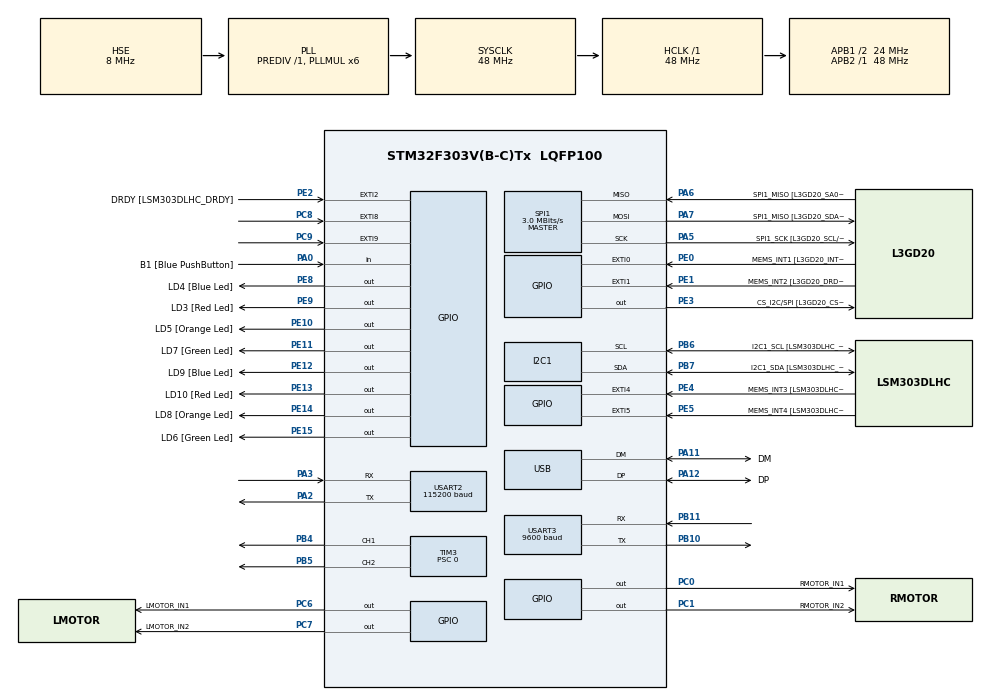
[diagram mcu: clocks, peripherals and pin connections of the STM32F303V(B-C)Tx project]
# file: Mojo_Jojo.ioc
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I2C1.Timing=0x00201D2B
I2C1.Timing-I2C=0x2000090E
Mcu.Family=STM32F3
Mcu.Name=STM32F303V(B-C)Tx
Mcu.Package=LQFP100
NVIC.EXTI9_5_IRQn=true\:0\:0\:false\:false\:true\:true\:true\:true
NVIC.PriorityGroup=NVIC_PRIORITYGROUP_4
NVIC.TIM2_IRQn=true\:0\:0\:false\:false\:true\:true\:true\:true
NVIC.TIM4_IRQn=true\:1\:0\:true\:false\:true\:true\:true\:true
NVIC.USART3_IRQn=true\:0\:0\:false\:false\:true\:true\:true\:true
PA0.GPIO_Label=B1 [Blue PushButton]
PA0.Signal=GPIO_Input
PA11.GPIO_Label=DM
PA11.Mode=Device
PA11.Signal=USB_DM
PA12.GPIO_Label=DP
PA12.Mode=Device
PA12.Signal=USB_DP
PA13.GPIO_Label=SWDIO
PA13.Mode=Serial_Wire
PA13.Signal=SYS_JTMS-SWDIO
PA14.GPIO_Label=SWCLK
PA14.Mode=Serial_Wire
PA14.Signal=SYS_JTCK-SWCLK
PA2.Mode=Asynchronous
PA2.Signal=USART2_TX
PA3.Mode=Asynchronous
PA3.Signal=USART2_RX
PA5.GPIO_Label=SPI1_SCK [L3GD20_SCL/SPC]
PA5.Mode=Full_Duplex_Master
PA5.Signal=SPI1_SCK
PA6.GPIO_Label=SPI1_MISO [L3GD20_SA0/SDO]
PA6.Mode=Full_Duplex_Master
PA6.Signal=SPI1_MISO
PA7.GPIO_Label=SPI1_MISO [L3GD20_SDA/SDI/SDO]
PA7.Mode=Full_Duplex_Master
PA7.Signal=SPI1_MOSI
PB10.Mode=Asynchronous
PB10.Signal=USART3_TX
PB11.Mode=Asynchronous
PB11.Signal=USART3_RX
PB3.GPIO_Label=SWO
PB3.Signal=SYS_JTDO-TRACESWO
PB4.Signal=S_TIM3_CH1
PB5.Signal=S_TIM3_CH2
PB6.GPIO_Label=I2C1_SCL [LSM303DLHC_SCL]
PB6.GPIO_Pu=GPIO_PULLUP
PB6.Mode=I2C
PB6.Signal=I2C1_SCL
PB7.GPIO_Label=I2C1_SDA [LSM303DLHC_SDA]
PB7.GPIO_Pu=GPIO_PULLUP
PB7.Mode=I2C
PB7.Signal=I2C1_SDA
PC0.GPIO_Label=RMOTOR_IN1
PC0.Signal=GPIO_Output
PC1.GPIO_Label=RMOTOR_IN2
PC1.Signal=GPIO_Output
PC14-OSC32_IN.GPIO_Label=OSC32_IN
PC14-OSC32_IN.Signal=RCC_OSC32_IN
PC15-OSC32_OUT.GPIO_Label=OSC32_OUT
PC15-OSC32_OUT.Signal=RCC_OSC32_OUT
PC6.GPIO_Label=LMOTOR_IN1
PC6.Signal=GPIO_Output
PC7.GPIO_Label=LMOTOR_IN2
PC7.Signal=GPIO_Output
PC8.Signal=GPXTI8
PC9.Signal=GPXTI9
PE0.GPIO_Label=MEMS_INT1 [L3GD20_INT1]
PE0.GPIO_ModeDefaultEXTI=GPIO_MODE_EVT_RISING
PE0.Signal=GPXTI0
PE1.GPIO_Label=MEMS_INT2 [L3GD20_DRDY/INT2]
PE1.GPIO_ModeDefaultEXTI=GPIO_MODE_EVT_RISING
PE1.Signal=GPXTI1
PE10.GPIO_Label=LD5 [Orange Led]
PE10.Signal=GPIO_Output
PE11.GPIO_Label=LD7 [Green Led]
PE11.Signal=GPIO_Output
PE12.GPIO_Label=LD9 [Blue Led]
PE12.Signal=GPIO_Output
PE13.GPIO_Label=LD10 [Red Led]
PE13.Signal=GPIO_Output
PE14.GPIO_Label=LD8 [Orange Led]
PE14.Signal=GPIO_Output
PE15.GPIO_Label=LD6 [Green Led]
PE15.Signal=GPIO_Output
PE2.GPIO_Label=DRDY [LSM303DLHC_DRDY]
PE2.GPIO_ModeDefaultEXTI=GPIO_MODE_EVT_RISING
PE2.Signal=GPXTI2
PE3.GPIO_Label=CS_I2C/SPI [L3GD20_CS_I2C/SPI]
PE3.Signal=GPIO_Output
PE4.GPIO_Label=MEMS_INT3 [LSM303DLHC_INT1]
PE4.GPIO_ModeDefaultEXTI=GPIO_MODE_EVT_RISING
PE4.Signal=GPXTI4
PE5.GPIO_Label=MEMS_INT4 [LSM303DLHC_INT2]
PE5.GPIO_ModeDefaultEXTI=GPIO_MODE_EVT_RISING
PE5.Signal=GPXTI5
PE8.GPIO_Label=LD4 [Blue Led]
PE8.Signal=GPIO_Output
PE9.GPIO_Label=LD3 [Red Led]
PE9.Signal=GPIO_Output
PF0-OSC_IN.GPIO_Label=OSC_IN
PF0-OSC_IN.Mode=HSE-External-Clock-Source
PF0-OSC_IN.Signal=RCC_OSC_IN
PF1-OSC_OUT.GPIO_Label=OSC_OUT
PF1-OSC_OUT.Signal=RCC_OSC_OUT
ProjectManager.HeapSize=0x200
ProjectManager.StackSize=0x400
ProjectManager.TargetToolchain=CMake
RCC.AHBFreq_Value=48000000
RCC.APB1CLKDivider=RCC_HCLK_DIV2
RCC.APB1Freq_Value=24000000
RCC.APB1TimFreq_Value=48000000
RCC.APB2Freq_Value=48000000
RCC.APB2TimFreq_Value=48000000
RCC.CortexFreq_Value=48000000
RCC.HCLKFreq_Value=48000000
RCC.HSE_VALUE=8000000
RCC.HSI_VALUE=8000000
RCC.LSE_VALUE=32768
RCC.PLLMUL=RCC_PLL_MUL6
RCC.SYSCLKFreq_VALUE=48000000
RCC.SYSCLKSourceVirtual=RCC_SYSCLKSOURCE_PLLCLK
RCC.USBFreq_Value=48000000
SH.S_TIM3_CH1.0=TIM3_CH1,PWM Generation1 CH1
SH.S_TIM3_CH2.0=TIM3_CH2,PWM Generation2 CH2
SPI1.BaudRatePrescaler=SPI_BAUDRATEPRESCALER_16
SPI1.BaudRatePrescaler-Full_Duplex_Master=SPI_BAUDRATEPRESCALER_2
SPI1.CLKPhase=SPI_PHASE_2EDGE
SPI1.CLKPolarity=SPI_POLARITY_HIGH
SPI1.CalculateBaudRate=3.0 MBits/s
SPI1.CalculateBaudRate-Full_Duplex_Master=24.0 MBits/s
SPI1.DataSize=SPI_DATASIZE_8BIT
SPI1.Direction=SPI_DIRECTION_2LINES
SPI1.Mode=SPI_MODE_MASTER
SPI1.Mode-Full_Duplex_Master=SPI_MODE_MASTER
SPI1.VirtualType=VM_MASTER
TIM2.Period=0xFFFFFFFF
TIM2.Prescaler=47
TIM3.Channel-PWM\ Generation1\ CH1=TIM_CHANNEL_1
TIM3.Channel-PWM\ Generation2\ CH2=TIM_CHANNEL_2
TIM3.Period=4799
TIM3.Prescaler=0
TIM4.Period=9999
TIM4.Prescaler=47
USART2.BaudRate=115200
USART2.VirtualMode-Asynchronous=VM_ASYNC
USART3.BaudRate=9600
USART3.VirtualMode-Asynchronous=VM_ASYNC
VP_TIM2_VS_ClockSourceINT.Mode=Internal
VP_TIM3_VS_ClockSourceINT.Mode=Internal
VP_TIM4_VS_ClockSourceINT.Mode=Internal
board=STM32F3DISCOVERY

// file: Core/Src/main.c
/* USER CODE BEGIN Header */
/**
  ******************************************************************************
  * @file           : main.c
  * @brief          : Main program body
  ******************************************************************************
  * @attention
  *
  * Copyright (c) 2026 STMicroelectronics.
  * All rights reserved.
  *
  * This software is licensed under terms that can be found in the LICENSE file
  * in the root directory of this software component.
  * If no LICENSE file comes with this software, it is provided AS-IS.
  *
  ******************************************************************************
  */
/* USER CODE END Header */
#include "main.h"

/* USER CODE BEGIN Includes */
#include "angle.h"
#include "encoder.h"
#include "imu.h"
#include "motor.h"
#include "pid.h"

#include <math.h>
#include <stdio.h>
#include <string.h>

/* USER CODE END Includes */

/* USER CODE BEGIN PD */
#define FALL_ANGLE_DEG 40.0f

/* USER CODE END PD */

I2C_HandleTypeDef hi2c1;

SPI_HandleTypeDef hspi1;

TIM_HandleTypeDef htim2;
TIM_HandleTypeDef htim3;
TIM_HandleTypeDef htim4;

UART_HandleTypeDef huart2;
UART_HandleTypeDef huart3;

PCD_HandleTypeDef hpcd_USB_FS;

/* USER CODE BEGIN PV */
pid_t balance_pid;    /* Position (angle) PID */
pid_t speed_pid;      /* Speed (RPM) PID */
volatile uint8_t g_fallen = 0;
volatile uint8_t g_fall_event = 0;

/* USER CODE END PV */

void SystemClock_Config(void);
static void MX_GPIO_Init(void);
static void MX_I2C1_Init(void);
static void MX_SPI1_Init(void);
static void MX_TIM2_Init(void);
static void MX_TIM3_Init(void);
static void MX_TIM4_Init(void);
static void MX_USART2_UART_Init(void);
static void MX_USART3_UART_Init(void);
static void MX_USB_PCD_Init(void);

/* USER CODE BEGIN 0 */
#define RAD_TO_DEG 57.2957795f

extern void encoder_exti_handler(uint16_t GPIO_Pin);

static void uart2_print(const char *msg)
{
  HAL_UART_Transmit(&huart2, (uint8_t *)msg, (uint16_t)strlen(msg), HAL_MAX_DELAY);
}

/* USER CODE END 0 */

int main(void)
{

  /* MCU Configuration--------------------------------------------------------*/

  /* Reset of all peripherals, Initializes the Flash interface and the Systick. */
  HAL_Init();

  /* Configure the system clock */
  SystemClock_Config();

  /* Initialize all configured peripherals */
  MX_GPIO_Init();
  MX_I2C1_Init();
  MX_SPI1_Init();
  MX_TIM2_Init();
  MX_TIM3_Init();
  MX_TIM4_Init();
  MX_USART2_UART_Init();
  MX_USART3_UART_Init();
  MX_USB_PCD_Init();
  /* USER CODE BEGIN 2 */
  char line[128];

  (void)snprintf(line, sizeof(line), "\r\nPhase 6: Position PID\r\n");
  uart2_print(line);

  imu_init(&hi2c1, &hspi1);
  imu_calibrate(200);
  angle_init();
  g_fallen = 0;
  g_fall_event = 0;

  encoder_init(&htim2);
  motor_init(&htim3);

  /* Position PID: angle -> target RPM (cascaded mode) */
  pid_init(&balance_pid, 65.0f, 6.5f, 0.65f, 0.0f, -300.0f, 300.0f);

  /* Speed PID: target RPM -> PWM command (conservative Kp) */
  pid_init(&speed_pid,1.0f, 0.0f, 0.0f, 0.0f, -999.0f, 999.0f);
  HAL_TIM_Base_Start_IT(&htim4);

  uart2_print("UART: angle,target_rpm,actual_rpm,pwm_cmd @10Hz\r\n");

  /* USER CODE END 2 */

  /* Infinite loop */
  while (1)
  {

    /* USER CODE BEGIN 3 */
    if (g_fall_event) {
      g_fall_event = 0;
      uart2_print("FALL DETECTED: |angle| > 45 deg, motors stopped\r\n");
    }

    if (display_flag) {
      float rpm_l;
      float rpm_r;
      int len;

      display_flag = 0;
      rpm_l = encoder_get_rpm_left();
      rpm_r = encoder_get_rpm_right();

      len = snprintf(line,
                     sizeof(line),
                     "%.2f,%.1f,%.1f,%.1f\r\n",
                     imu.angle,
                     balance_pid.output,
                     (rpm_l + rpm_r) / 2.0f,
                     speed_pid.output);
      HAL_UART_Transmit(&huart2, (uint8_t *)line, (uint16_t)len, HAL_MAX_DELAY);
    }
  }
  /* USER CODE END 3 */
}

void SystemClock_Config(void)
{
  RCC_OscInitTypeDef RCC_OscInitStruct = {0};
  RCC_ClkInitTypeDef RCC_ClkInitStruct = {0};
  RCC_PeriphCLKInitTypeDef PeriphClkInit = {0};

  /** Initializes the RCC Oscillators according to the specified parameters
  * in the RCC_OscInitTypeDef structure.
  */
  RCC_OscInitStruct.OscillatorType = RCC_OSCILLATORTYPE_HSI|RCC_OSCILLATORTYPE_HSE;
  RCC_OscInitStruct.HSEState = RCC_HSE_BYPASS;
  RCC_OscInitStruct.HSEPredivValue = RCC_HSE_PREDIV_DIV1;
  RCC_OscInitStruct.HSIState = RCC_HSI_ON;
  RCC_OscInitStruct.HSICalibrationValue = RCC_HSICALIBRATION_DEFAULT;
  RCC_OscInitStruct.PLL.PLLState = RCC_PLL_ON;
  RCC_OscInitStruct.PLL.PLLSource = RCC_PLLSOURCE_HSE;
  RCC_OscInitStruct.PLL.PLLMUL = RCC_PLL_MUL6;
  if (HAL_RCC_OscConfig(&RCC_OscInitStruct) != HAL_OK)
  {
    Error_Handler();
  }

  /** Initializes the CPU, AHB and APB buses clocks
  */
  RCC_ClkInitStruct.ClockType = RCC_CLOCKTYPE_HCLK|RCC_CLOCKTYPE_SYSCLK
                              |RCC_CLOCKTYPE_PCLK1|RCC_CLOCKTYPE_PCLK2;
  RCC_ClkInitStruct.SYSCLKSource = RCC_SYSCLKSOURCE_PLLCLK;
  RCC_ClkInitStruct.AHBCLKDivider = RCC_SYSCLK_DIV1;
  RCC_ClkInitStruct.APB1CLKDivider = RCC_HCLK_DIV2;
  RCC_ClkInitStruct.APB2CLKDivider = RCC_HCLK_DIV1;

  if (HAL_RCC_ClockConfig(&RCC_ClkInitStruct, FLASH_LATENCY_1) != HAL_OK)
  {
    Error_Handler();
  }
  PeriphClkInit.PeriphClockSelection = RCC_PERIPHCLK_USB|RCC_PERIPHCLK_USART2
                              |RCC_PERIPHCLK_USART3|RCC_PERIPHCLK_I2C1;
  PeriphClkInit.Usart2ClockSelection = RCC_USART2CLKSOURCE_PCLK1;
  PeriphClkInit.Usart3ClockSelection = RCC_USART3CLKSOURCE_PCLK1;
  PeriphClkInit.I2c1ClockSelection = RCC_I2C1CLKSOURCE_HSI;
  PeriphClkInit.USBClockSelection = RCC_USBCLKSOURCE_PLL;
  if (HAL_RCCEx_PeriphCLKConfig(&PeriphClkInit) != HAL_OK)
  {
    Error_Handler();
  }
}

static void MX_I2C1_Init(void)
{

  hi2c1.Instance = I2C1;
  hi2c1.Init.Timing = 0x00201D2B;
  hi2c1.Init.OwnAddress1 = 0;
  hi2c1.Init.AddressingMode = I2C_ADDRESSINGMODE_7BIT;
  hi2c1.Init.DualAddressMode = I2C_DUALADDRESS_DISABLE;
  hi2c1.Init.OwnAddress2 = 0;
  hi2c1.Init.OwnAddress2Masks = I2C_OA2_NOMASK;
  hi2c1.Init.GeneralCallMode = I2C_GENERALCALL_DISABLE;
  hi2c1.Init.NoStretchMode = I2C_NOSTRETCH_DISABLE;
  if (HAL_I2C_Init(&hi2c1) != HAL_OK)
  {
    Error_Handler();
  }

  /** Configure Analogue filter
  */
  if (HAL_I2CEx_ConfigAnalogFilter(&hi2c1, I2C_ANALOGFILTER_ENABLE) != HAL_OK)
  {
    Error_Handler();
  }

  /** Configure Digital filter
  */
  if (HAL_I2CEx_ConfigDigitalFilter(&hi2c1, 0) != HAL_OK)
  {
    Error_Handler();
  }

}

static void MX_SPI1_Init(void)
{

  /* SPI1 parameter configuration*/
  hspi1.Instance = SPI1;
  hspi1.Init.Mode = SPI_MODE_MASTER;
  hspi1.Init.Direction = SPI_DIRECTION_2LINES;
  hspi1.Init.DataSize = SPI_DATASIZE_8BIT;
  hspi1.Init.CLKPolarity = SPI_POLARITY_HIGH;
  hspi1.Init.CLKPhase = SPI_PHASE_2EDGE;
  hspi1.Init.NSS = SPI_NSS_SOFT;
  hspi1.Init.BaudRatePrescaler = SPI_BAUDRATEPRESCALER_16;
  hspi1.Init.FirstBit = SPI_FIRSTBIT_MSB;
  hspi1.Init.TIMode = SPI_TIMODE_DISABLE;
  hspi1.Init.CRCCalculation = SPI_CRCCALCULATION_DISABLE;
  hspi1.Init.CRCPolynomial = 7;
  hspi1.Init.CRCLength = SPI_CRC_LENGTH_DATASIZE;
  hspi1.Init.NSSPMode = SPI_NSS_PULSE_DISABLE;
  if (HAL_SPI_Init(&hspi1) != HAL_OK)
  {
    Error_Handler();
  }

}

static void MX_TIM2_Init(void)
{

  TIM_ClockConfigTypeDef sClockSourceConfig = {0};
  TIM_MasterConfigTypeDef sMasterConfig = {0};

  htim2.Instance = TIM2;
  htim2.Init.Prescaler = 47;
  htim2.Init.CounterMode = TIM_COUNTERMODE_UP;
  htim2.Init.Period = 0xFFFFFFFF;
  htim2.Init.ClockDivision = TIM_CLOCKDIVISION_DIV1;
  htim2.Init.AutoReloadPreload = TIM_AUTORELOAD_PRELOAD_DISABLE;
  if (HAL_TIM_Base_Init(&htim2) != HAL_OK)
  {
    Error_Handler();
  }
  sClockSourceConfig.ClockSource = TIM_CLOCKSOURCE_INTERNAL;
  if (HAL_TIM_ConfigClockSource(&htim2, &sClockSourceConfig) != HAL_OK)
  {
    Error_Handler();
  }
  sMasterConfig.MasterOutputTrigger = TIM_TRGO_RESET;
  sMasterConfig.MasterSlaveMode = TIM_MASTERSLAVEMODE_DISABLE;
  if (HAL_TIMEx_MasterConfigSynchronization(&htim2, &sMasterConfig) != HAL_OK)
  {
    Error_Handler();
  }

}

static void MX_TIM3_Init(void)
{

  TIM_ClockConfigTypeDef sClockSourceConfig = {0};
  TIM_MasterConfigTypeDef sMasterConfig = {0};
  TIM_OC_InitTypeDef sConfigOC = {0};

  htim3.Instance = TIM3;
  htim3.Init.Prescaler = 47;
  htim3.Init.CounterMode = TIM_COUNTERMODE_UP;
  htim3.Init.Period = 999;
  htim3.Init.ClockDivision = TIM_CLOCKDIVISION_DIV1;
  htim3.Init.AutoReloadPreload = TIM_AUTORELOAD_PRELOAD_DISABLE;
  if (HAL_TIM_Base_Init(&htim3) != HAL_OK)
  {
    Error_Handler();
  }
  sClockSourceConfig.ClockSource = TIM_CLOCKSOURCE_INTERNAL;
  if (HAL_TIM_ConfigClockSource(&htim3, &sClockSourceConfig) != HAL_OK)
  {
    Error_Handler();
  }
  if (HAL_TIM_PWM_Init(&htim3) != HAL_OK)
  {
    Error_Handler();
  }
  sMasterConfig.MasterOutputTrigger = TIM_TRGO_RESET;
  sMasterConfig.MasterSlaveMode = TIM_MASTERSLAVEMODE_DISABLE;
  if (HAL_TIMEx_MasterConfigSynchronization(&htim3, &sMasterConfig) != HAL_OK)
  {
    Error_Handler();
  }
  sConfigOC.OCMode = TIM_OCMODE_PWM1;
  sConfigOC.Pulse = 0;
  sConfigOC.OCPolarity = TIM_OCPOLARITY_HIGH;
  sConfigOC.OCFastMode = TIM_OCFAST_DISABLE;
  if (HAL_TIM_PWM_ConfigChannel(&htim3, &sConfigOC, TIM_CHANNEL_1) != HAL_OK)
  {
    Error_Handler();
  }
  if (HAL_TIM_PWM_ConfigChannel(&htim3, &sConfigOC, TIM_CHANNEL_2) != HAL_OK)
  {
    Error_Handler();
  }
  HAL_TIM_MspPostInit(&htim3);

}

static void MX_TIM4_Init(void)
{

  TIM_ClockConfigTypeDef sClockSourceConfig = {0};
  TIM_MasterConfigTypeDef sMasterConfig = {0};

  htim4.Instance = TIM4;
  htim4.Init.Prescaler = 47;
  htim4.Init.CounterMode = TIM_COUNTERMODE_UP;
  htim4.Init.Period = 9999;
  htim4.Init.ClockDivision = TIM_CLOCKDIVISION_DIV1;
  htim4.Init.AutoReloadPreload = TIM_AUTORELOAD_PRELOAD_DISABLE;
  if (HAL_TIM_Base_Init(&htim4) != HAL_OK)
  {
    Error_Handler();
  }
  sClockSourceConfig.ClockSource = TIM_CLOCKSOURCE_INTERNAL;
  if (HAL_TIM_ConfigClockSource(&htim4, &sClockSourceConfig) != HAL_OK)
  {
    Error_Handler();
  }
  sMasterConfig.MasterOutputTrigger = TIM_TRGO_RESET;
  sMasterConfig.MasterSlaveMode = TIM_MASTERSLAVEMODE_DISABLE;
  if (HAL_TIMEx_MasterConfigSynchronization(&htim4, &sMasterConfig) != HAL_OK)
  {
    Error_Handler();
  }

}

static void MX_USART2_UART_Init(void)
{

  huart2.Instance = USART2;
  huart2.Init.BaudRate = 115200;
  huart2.Init.WordLength = UART_WORDLENGTH_8B;
  huart2.Init.StopBits = UART_STOPBITS_1;
  huart2.Init.Parity = UART_PARITY_NONE;
  huart2.Init.Mode = UART_MODE_TX_RX;
  huart2.Init.HwFlowCtl = UART_HWCONTROL_NONE;
  huart2.Init.OverSampling = UART_OVERSAMPLING_16;
  huart2.Init.OneBitSampling = UART_ONE_BIT_SAMPLE_DISABLE;
  huart2.AdvancedInit.AdvFeatureInit = UART_ADVFEATURE_NO_INIT;
  if (HAL_UART_Init(&huart2) != HAL_OK)
  {
    Error_Handler();
  }

}

static void MX_USART3_UART_Init(void)
{

  huart3.Instance = USART3;
  huart3.Init.BaudRate = 9600;
  huart3.Init.WordLength = UART_WORDLENGTH_8B;
  huart3.Init.StopBits = UART_STOPBITS_1;
  huart3.Init.Parity = UART_PARITY_NONE;
  huart3.Init.Mode = UART_MODE_TX_RX;
  huart3.Init.HwFlowCtl = UART_HWCONTROL_NONE;
  huart3.Init.OverSampling = UART_OVERSAMPLING_16;
  huart3.Init.OneBitSampling = UART_ONE_BIT_SAMPLE_DISABLE;
  huart3.AdvancedInit.AdvFeatureInit = UART_ADVFEATURE_NO_INIT;
  if (HAL_UART_Init(&huart3) != HAL_OK)
  {
    Error_Handler();
  }

}

static void MX_USB_PCD_Init(void)
{

  hpcd_USB_FS.Instance = USB;
  hpcd_USB_FS.Init.dev_endpoints = 8;
  hpcd_USB_FS.Init.speed = PCD_SPEED_FULL;
  hpcd_USB_FS.Init.phy_itface = PCD_PHY_EMBEDDED;
  hpcd_USB_FS.Init.low_power_enable = DISABLE;
  hpcd_USB_FS.Init.battery_charging_enable = DISABLE;
  if (HAL_PCD_Init(&hpcd_USB_FS) != HAL_OK)
  {
    Error_Handler();
  }

}

static void MX_GPIO_Init(void)
{
  GPIO_InitTypeDef GPIO_InitStruct = {0};

  /* GPIO Ports Clock Enable */
  __HAL_RCC_GPIOE_CLK_ENABLE();
  __HAL_RCC_GPIOC_CLK_ENABLE();
  __HAL_RCC_GPIOF_CLK_ENABLE();
  __HAL_RCC_GPIOA_CLK_ENABLE();
  __HAL_RCC_GPIOB_CLK_ENABLE();

  /*Configure GPIO pin Output Level */
  HAL_GPIO_WritePin(GPIOE, CS_I2C_SPI_Pin|LD4_Pin|LD3_Pin|LD5_Pin
                          |LD7_Pin|LD9_Pin|LD10_Pin|LD8_Pin
                          |LD6_Pin, GPIO_PIN_RESET);

  /*Configure GPIO pin Output Level */
  HAL_GPIO_WritePin(GPIOC, RMOTOR_IN1_Pin|RMOTOR_IN2_Pin|LMOTOR_IN1_Pin|LMOTOR_IN2_Pin, GPIO_PIN_RESET);

  /*Configure GPIO pins : DRDY_Pin MEMS_INT3_Pin MEMS_INT4_Pin MEMS_INT1_Pin
                           MEMS_INT2_Pin */
  GPIO_InitStruct.Pin = DRDY_Pin|MEMS_INT3_Pin|MEMS_INT4_Pin|MEMS_INT1_Pin
                          |MEMS_INT2_Pin;
  GPIO_InitStruct.Mode = GPIO_MODE_EVT_RISING;
  GPIO_InitStruct.Pull = GPIO_NOPULL;
  HAL_GPIO_Init(GPIOE, &GPIO_InitStruct);

  /*Configure GPIO pins : CS_I2C_SPI_Pin LD4_Pin LD3_Pin LD5_Pin
                           LD7_Pin LD9_Pin LD10_Pin LD8_Pin
                           LD6_Pin */
  GPIO_InitStruct.Pin = CS_I2C_SPI_Pin|LD4_Pin|LD3_Pin|LD5_Pin
                          |LD7_Pin|LD9_Pin|LD10_Pin|LD8_Pin
                          |LD6_Pin;
  GPIO_InitStruct.Mode = GPIO_MODE_OUTPUT_PP;
  GPIO_InitStruct.Pull = GPIO_NOPULL;
  GPIO_InitStruct.Speed = GPIO_SPEED_FREQ_LOW;
  HAL_GPIO_Init(GPIOE, &GPIO_InitStruct);

  /*Configure GPIO pins : RMOTOR_IN1_Pin RMOTOR_IN2_Pin LMOTOR_IN1_Pin LMOTOR_IN2_Pin */
  GPIO_InitStruct.Pin = RMOTOR_IN1_Pin|RMOTOR_IN2_Pin|LMOTOR_IN1_Pin|LMOTOR_IN2_Pin;
  GPIO_InitStruct.Mode = GPIO_MODE_OUTPUT_PP;
  GPIO_InitStruct.Pull = GPIO_NOPULL;
  GPIO_InitStruct.Speed = GPIO_SPEED_FREQ_LOW;
  HAL_GPIO_Init(GPIOC, &GPIO_InitStruct);

  /*Configure GPIO pin : B1_Pin */
  GPIO_InitStruct.Pin = B1_Pin;
  GPIO_InitStruct.Mode = GPIO_MODE_INPUT;
  GPIO_InitStruct.Pull = GPIO_NOPULL;
  HAL_GPIO_Init(B1_GPIO_Port, &GPIO_InitStruct);

  /*Configure GPIO pins : PC8 PC9 */
  GPIO_InitStruct.Pin = GPIO_PIN_8|GPIO_PIN_9;
  GPIO_InitStruct.Mode = GPIO_MODE_IT_RISING;
  GPIO_InitStruct.Pull = GPIO_NOPULL;
  HAL_GPIO_Init(GPIOC, &GPIO_InitStruct);

  /* EXTI interrupt init*/
  HAL_NVIC_SetPriority(EXTI9_5_IRQn, 0, 0);
  HAL_NVIC_EnableIRQ(EXTI9_5_IRQn);

}

/* USER CODE BEGIN 4 */
void HAL_GPIO_EXTI_Callback(uint16_t GPIO_Pin)
{
  if (GPIO_Pin == GPIO_PIN_8 || GPIO_Pin == GPIO_PIN_9) {
    encoder_exti_handler(GPIO_Pin);
  }
}

void HAL_TIM_PeriodElapsedCallback(TIM_HandleTypeDef *htim)
{
  if (htim->Instance == TIM4) {
    float acc_angle;
    float angle_input;
    float target_rpm;
    float actual_rpm;
    float pwm_cmd;
    int16_t motor_cmd;
    static uint16_t cnt = 0;

    /* Step 1: read sensors and update angle */
    imu_read_accel();
    imu_read_gyro();

    acc_angle = (ACC_TILT_SIGN * atan2f(imu.ay, imu.az)) * RAD_TO_DEG;
    imu.angle = COMP_ALPHA * (imu.angle + (GYRO_TILT_SIGN * imu.gy) * DT) +
                (1.0f - COMP_ALPHA) * acc_angle;

    /* Step 2: Position PID (angle -> target RPM) */
    balance_pid.setpoint = 0.0f;
    angle_input = (float)ANGLE_SIGN * imu.angle;

    if (g_fallen || angle_input > FALL_ANGLE_DEG || angle_input < -FALL_ANGLE_DEG) {
      g_fallen = 1;
      g_fall_event = 1;
      pid_reset(&balance_pid);
      pid_reset(&speed_pid);
      motor_stop();
    } else {
      /* Position PID outputs target RPM */
      target_rpm = pid_compute(&balance_pid, angle_input, DT);

      /* Step 3: Speed PID (target RPM -> PWM command) */
      actual_rpm = (encoder_get_rpm_left() + encoder_get_rpm_right()) / 2.0f;
      speed_pid.setpoint = target_rpm;
      pwm_cmd = pid_compute(&speed_pid, actual_rpm, DT);

      /* Step 4: drive motors with cascaded output */
      motor_cmd = (int16_t)pwm_cmd;
      motor_set(motor_cmd, motor_cmd);
    }

    /* Step 5: display flag every 10 ticks = 10 Hz */
    cnt++;
    if (cnt >= 10U) {
      cnt = 0;
      display_flag = 1;
    }
  }
}

/* USER CODE END 4 */

void Error_Handler(void)
{
  __disable_irq();
  while (1)
  {
  }
}
